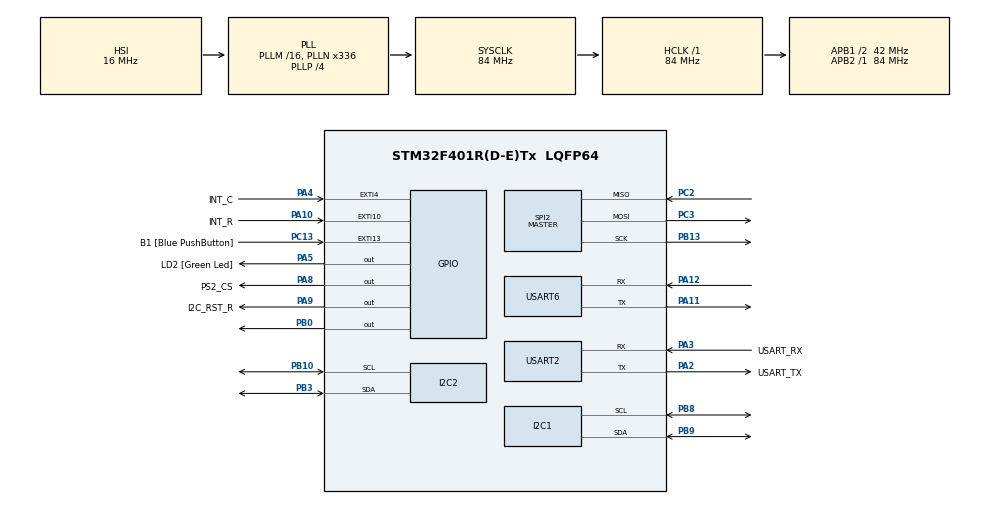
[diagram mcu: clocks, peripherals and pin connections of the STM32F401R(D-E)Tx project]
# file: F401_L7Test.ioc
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FREERTOS.Tasks01=defaultTask,0,128,StartDefaultTask,Default,NULL,Dynamic,NULL,NULL;PS2Task,-3,128,StartPS2Task,Default,NULL,Dynamic,NULL,NULL
FREERTOS.configUSE_RECURSIVE_MUTEXES=1
I2C1.I2C_Mode=I2C_Fast
I2C2.OwnAddress=0x52
Mcu.Family=STM32F4
Mcu.Name=STM32F401R(D-E)Tx
Mcu.Package=LQFP64
NVIC.EXTI15_10_IRQn=true\:5\:0\:false\:false\:true\:true\:true\:true\:true
NVIC.EXTI4_IRQn=true\:5\:0\:false\:false\:true\:true\:true\:true\:true
NVIC.PriorityGroup=NVIC_PRIORITYGROUP_4
NVIC.USART6_IRQn=true\:5\:0\:false\:false\:true\:true\:true\:true\:true
PA10.GPIO_Label=INT_R
PA10.Signal=GPXTI10
PA11.Mode=Asynchronous
PA11.Signal=USART6_TX
PA12.Mode=Asynchronous
PA12.Signal=USART6_RX
PA2.GPIO_Label=USART_TX
PA2.GPIO_Mode=GPIO_MODE_AF_PP
PA2.GPIO_PuPd=GPIO_NOPULL
PA2.GPIO_Speed=GPIO_SPEED_FREQ_LOW
PA2.Mode=Asynchronous
PA2.Signal=USART2_TX
PA3.GPIO_Label=USART_RX
PA3.GPIO_Mode=GPIO_MODE_AF_PP
PA3.GPIO_PuPd=GPIO_NOPULL
PA3.GPIO_Speed=GPIO_SPEED_FREQ_LOW
PA3.Mode=Asynchronous
PA3.Signal=USART2_RX
PA4.GPIO_Label=INT_C
PA4.GPIO_ModeDefaultEXTI=GPIO_MODE_IT_FALLING
PA4.Signal=GPXTI4
PA5.GPIO_Label=LD2 [Green Led]
PA5.GPIO_PuPd=GPIO_NOPULL
PA5.GPIO_Speed=GPIO_SPEED_FREQ_LOW
PA5.PinState=GPIO_PIN_SET
PA5.Signal=GPIO_Output
PA8.GPIO_Label=PS2_CS
PA8.GPIO_Speed=GPIO_SPEED_FREQ_HIGH
PA8.Signal=GPIO_Output
PA9.GPIO_Label=I2C_RST_R
PA9.GPIO_Speed=GPIO_SPEED_FREQ_HIGH
PA9.Signal=GPIO_Output
PB0.Signal=GPIO_Output
PB10.GPIO_Speed=GPIO_SPEED_FREQ_MEDIUM
PB10.Mode=I2C
PB10.Signal=I2C2_SCL
PB13.Mode=Full_Duplex_Master
PB13.Signal=SPI2_SCK
PB3.GPIO_Speed=GPIO_SPEED_FREQ_MEDIUM
PB3.Mode=I2C
PB3.Signal=I2C2_SDA
PB8.GPIO_Pu=GPIO_PULLUP
PB8.GPIO_Speed=GPIO_SPEED_FREQ_MEDIUM
PB8.Mode=I2C
PB8.Signal=I2C1_SCL
PB9.GPIO_Pu=GPIO_PULLUP
PB9.GPIO_Speed=GPIO_SPEED_FREQ_MEDIUM
PB9.Mode=I2C
PB9.Signal=I2C1_SDA
PC13-ANTI_TAMP.GPIO_Label=B1 [Blue PushButton]
PC13-ANTI_TAMP.GPIO_ModeDefaultEXTI=GPIO_MODE_IT_FALLING
PC13-ANTI_TAMP.GPIO_PuPd=GPIO_NOPULL
PC13-ANTI_TAMP.Signal=GPXTI13
PC14-OSC32_IN.Mode=LSE-External-Oscillator
PC14-OSC32_IN.Signal=RCC_OSC32_IN
PC15-OSC32_OUT.Mode=LSE-External-Oscillator
PC15-OSC32_OUT.Signal=RCC_OSC32_OUT
PC2.Mode=Full_Duplex_Master
PC2.Signal=SPI2_MISO
PC3.Mode=Full_Duplex_Master
PC3.Signal=SPI2_MOSI
PH0\ -\ OSC_IN.Mode=HSE-External-Clock-Source
PH0\ -\ OSC_IN.Signal=RCC_OSC_IN
PH1\ -\ OSC_OUT.Mode=HSE-External-Clock-Source
PH1\ -\ OSC_OUT.Signal=RCC_OSC_OUT
ProjectManager.HeapSize=0x200
ProjectManager.StackSize=0x400
ProjectManager.TargetToolchain=MDK-ARM V5.32
RCC.48MHZClocksFreq_Value=48000000
RCC.AHBFreq_Value=84000000
RCC.APB1CLKDivider=RCC_HCLK_DIV2
RCC.APB1Freq_Value=42000000
RCC.APB1TimFreq_Value=84000000
RCC.APB2Freq_Value=84000000
RCC.APB2TimFreq_Value=84000000
RCC.CortexFreq_Value=84000000
RCC.HCLKFreq_Value=84000000
RCC.HSE_VALUE=8000000
RCC.HSI_VALUE=16000000
RCC.PLLN=336
RCC.PLLP=RCC_PLLP_DIV4
RCC.PLLQ=7
RCC.SYSCLKFreq_VALUE=84000000
RCC.SYSCLKSource=RCC_SYSCLKSOURCE_PLLCLK
RCC.VCOOutputFreq_Value=336000000
SPI2.BaudRatePrescaler=SPI_BAUDRATEPRESCALER_256
SPI2.CLKPolarity=SPI_POLARITY_HIGH
SPI2.Direction=SPI_DIRECTION_2LINES
SPI2.FirstBit=SPI_FIRSTBIT_LSB
SPI2.Mode=SPI_MODE_MASTER
SPI2.VirtualType=VM_MASTER
USART2.VirtualMode=VM_ASYNC
USART6.VirtualMode=VM_ASYNC
VP_FREERTOS_VS_CMSIS_V1.Mode=CMSIS_V1
board=NUCLEO-F401RE

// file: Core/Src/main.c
/* USER CODE BEGIN Header */
/**
  ******************************************************************************
  * @file           : main.c
  * @brief          : Main program body
  ******************************************************************************
  * @attention
  *
  * Copyright (c) 2026 STMicroelectronics.
  * All rights reserved.
  *
  * This software is licensed under terms that can be found in the LICENSE file
  * in the root directory of this software component.
  * If no LICENSE file comes with this software, it is provided AS-IS.
  *
  ******************************************************************************
  */
/* USER CODE END Header */
#include "main.h"
#include "cmsis_os.h"
#include "i2c.h"
#include "spi.h"
#include "usart.h"
#include "gpio.h"

/* USER CODE BEGIN Includes */
#include <stdio.h>
#include "shell_port.h"
#include "tof_port.h"
/* USER CODE END Includes */

void SystemClock_Config(void);
void MX_FREERTOS_Init(void);
/* USER CODE BEGIN PFP */
// 声明传感器初始化函数
uint8_t VL53LX_Sensor_Init(void);
/* USER CODE END PFP */

int main(void)
{

  /* MCU Configuration--------------------------------------------------------*/

  /* Reset of all peripherals, Initializes the Flash interface and the Systick. */
  HAL_Init();

  /* Configure the system clock */
  SystemClock_Config();

  /* Initialize all configured peripherals */
  MX_GPIO_Init();
  MX_I2C1_Init();
  MX_USART2_UART_Init();
  MX_USART6_UART_Init();
  MX_I2C2_Init();
  MX_SPI2_Init();
  /* USER CODE BEGIN 2 */

  TOF_Init();

  userShellInit();
  /* USER CODE END 2 */

  /* Call init function for freertos objects (in cmsis_os2.c) */
  //MX_FREERTOS_Init();

  /* Start scheduler */
  osKernelStart();

  /* We should never get here as control is now taken by the scheduler */

  /* Infinite loop */
  while (1)
  {

  }
}

void SystemClock_Config(void)
{
  RCC_OscInitTypeDef RCC_OscInitStruct = {0};
  RCC_ClkInitTypeDef RCC_ClkInitStruct = {0};

  /** Configure the main internal regulator output voltage
  */
  __HAL_RCC_PWR_CLK_ENABLE();
  __HAL_PWR_VOLTAGESCALING_CONFIG(PWR_REGULATOR_VOLTAGE_SCALE2);

  /** Initializes the RCC Oscillators according to the specified parameters
  * in the RCC_OscInitTypeDef structure.
  */
  RCC_OscInitStruct.OscillatorType = RCC_OSCILLATORTYPE_HSI;
  RCC_OscInitStruct.HSIState = RCC_HSI_ON;
  RCC_OscInitStruct.HSICalibrationValue = RCC_HSICALIBRATION_DEFAULT;
  RCC_OscInitStruct.PLL.PLLState = RCC_PLL_ON;
  RCC_OscInitStruct.PLL.PLLSource = RCC_PLLSOURCE_HSI;
  RCC_OscInitStruct.PLL.PLLM = 16;
  RCC_OscInitStruct.PLL.PLLN = 336;
  RCC_OscInitStruct.PLL.PLLP = RCC_PLLP_DIV4;
  RCC_OscInitStruct.PLL.PLLQ = 7;
  if (HAL_RCC_OscConfig(&RCC_OscInitStruct) != HAL_OK)
  {
    Error_Handler();
  }

  /** Initializes the CPU, AHB and APB buses clocks
  */
  RCC_ClkInitStruct.ClockType = RCC_CLOCKTYPE_HCLK|RCC_CLOCKTYPE_SYSCLK
                              |RCC_CLOCKTYPE_PCLK1|RCC_CLOCKTYPE_PCLK2;
  RCC_ClkInitStruct.SYSCLKSource = RCC_SYSCLKSOURCE_PLLCLK;
  RCC_ClkInitStruct.AHBCLKDivider = RCC_SYSCLK_DIV1;
  RCC_ClkInitStruct.APB1CLKDivider = RCC_HCLK_DIV2;
  RCC_ClkInitStruct.APB2CLKDivider = RCC_HCLK_DIV1;

  if (HAL_RCC_ClockConfig(&RCC_ClkInitStruct, FLASH_LATENCY_2) != HAL_OK)
  {
    Error_Handler();
  }
}

void Error_Handler(void)
{
  __disable_irq();
  while (1)
  {
  }
}

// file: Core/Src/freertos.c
/* USER CODE BEGIN Header */
/**
  ******************************************************************************
  * File Name          : freertos.c
  * Description        : Code for freertos applications
  ******************************************************************************
  * @attention
  *
  * Copyright (c) 2026 STMicroelectronics.
  * All rights reserved.
  *
  * This software is licensed under terms that can be found in the LICENSE file
  * in the root directory of this software component.
  * If no LICENSE file comes with this software, it is provided AS-IS.
  *
  ******************************************************************************
  */
/* USER CODE END Header */

#include "FreeRTOS.h"
#include "task.h"
#include "main.h"
#include "cmsis_os.h"

/* USER CODE BEGIN Includes */
#include <stdio.h>
#include "vl53l7cx_api.h"
#include "PS2.h"
/* USER CODE END Includes */

/* USER CODE BEGIN Variables */

uint8_t test[]= {0x01,0x42};
uint8_t data[] = {0x00};
extern uint8_t PS2data[];
//extern uint8_t but;
extern uint16_t XY[4];
extern uint8_t All_But[];
uint8_t i1;

/* USER CODE END Variables */
osThreadId defaultTaskHandle;
osThreadId PS2TaskHandle;

/* USER CODE BEGIN FunctionPrototypes */
void get_data_by_polling(void);
void get_data_by_interrupt(void);
/* USER CODE END FunctionPrototypes */

void StartDefaultTask(void const * argument);
void StartPS2Task(void const * argument);

void MX_FREERTOS_Init(void); /* (MISRA C 2004 rule 8.1) */

/* GetIdleTaskMemory prototype (linked to static allocation support) */
void vApplicationGetIdleTaskMemory( StaticTask_t **ppxIdleTaskTCBBuffer, StackType_t **ppxIdleTaskStackBuffer, uint32_t *pulIdleTaskStackSize );

/* USER CODE BEGIN GET_IDLE_TASK_MEMORY */
static StaticTask_t xIdleTaskTCBBuffer;
static StackType_t xIdleStack[configMINIMAL_STACK_SIZE];

void vApplicationGetIdleTaskMemory( StaticTask_t **ppxIdleTaskTCBBuffer, StackType_t **ppxIdleTaskStackBuffer, uint32_t *pulIdleTaskStackSize )
{
  *ppxIdleTaskTCBBuffer = &xIdleTaskTCBBuffer;
  *ppxIdleTaskStackBuffer = &xIdleStack[0];
  *pulIdleTaskStackSize = configMINIMAL_STACK_SIZE;
  /* place for user code */
}
/* USER CODE END GET_IDLE_TASK_MEMORY */

void MX_FREERTOS_Init(void) {

  /* Create the thread(s) */
  /* definition and creation of defaultTask */
  osThreadDef(defaultTask, StartDefaultTask, osPriorityNormal, 0, 128);
  defaultTaskHandle = osThreadCreate(osThread(defaultTask), NULL);

  /* definition and creation of PS2Task */
  osThreadDef(PS2Task, StartPS2Task, osPriorityIdle, 0, 128);
  PS2TaskHandle = osThreadCreate(osThread(PS2Task), NULL);

}

void StartDefaultTask(void const * argument)
{
  for(;;)
  {
    osDelay(1);
  }
}

void StartPS2Task(void const * argument)
{
  /* USER CODE BEGIN StartPS2Task */
  /* Infinite loop */
  while (1)
  {
    /* USER CODE END WHILE */

    /* USER CODE BEGIN 3 */

		GetData();
		printf(" Lx: %d Ly: %d Rx: %d Ry: %d    \r\n",XY[2],XY[3],XY[0],XY[1]);
		for(i1 = 0;i1 < 16;i1++)
		{
			if(All_But[i1])
			{
				switch(i1)
				{
					case(0): printf(" Left");break;
					case(1): printf(" Down");break;
					case(2): printf(" Right");break;
					case(3): printf(" Up");break;
					case(4): printf(" Start");break;
					case(5): printf(" Select");break;
					case(6): printf(" Left");break;
					case(7): printf(" Select");break;
					case(8): printf(" X");break;
					case(9): printf(" A");break;
					case(10): printf(" B");break;
					case(11): printf(" Y");break;
					case(12): printf(" R1");break;
					case(13): printf(" L1");break;
					case(14): printf(" R2");break;
					case(15): printf(" L2");break;
				}

			}

		}
		printf("被按下\r\n");
		osDelay(50);

  }

  /* USER CODE END StartPS2Task */
}
